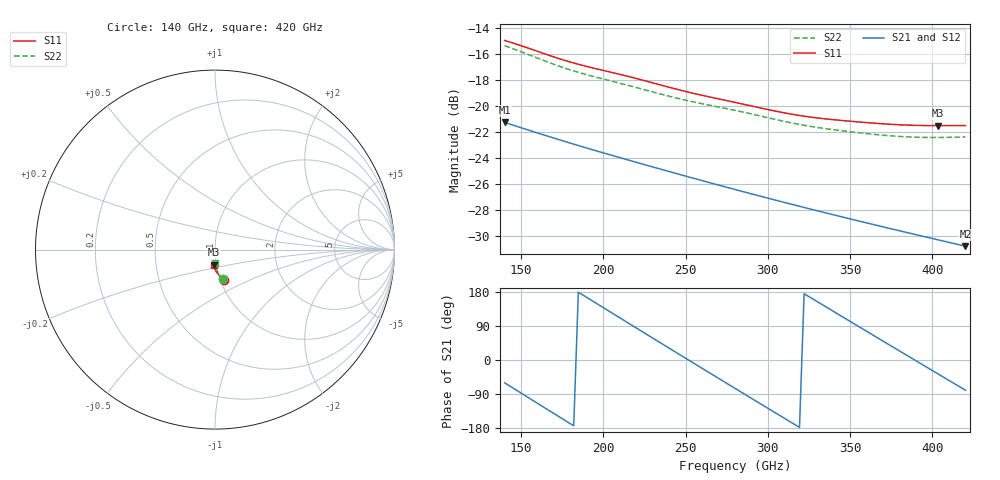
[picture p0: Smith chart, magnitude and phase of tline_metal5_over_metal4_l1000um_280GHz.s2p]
#  GHZ S DB R 50
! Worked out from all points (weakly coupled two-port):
!   101 points, 140 GHz to 420 GHz, reference 50 ohm
!   highest |S21| = -21.26 dB at 140 GHz (marker M1); lowest = -30.8 dB at 420 GHz (marker M2)
!   lowest |S11| = -21.5 dB at 403.2 GHz (marker M3), VSWR 1.18, Z = 48.9 - j8.27 ohm
!   |S11| at or under -10 dB: start of sweep to end of sweep
!   |S22| runs from -22.4 to -15.4 dB; largest |S21 - S12| = 1.3e-13
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140  -14.98 -73.4  -21.26 -60.2  -21.26 -60.2  -15.37 -75.0
148.4  -15.31 -75.1  -21.61 -82.9  -21.61 -82.9  -15.77 -76.5
159.6  -15.79 -77.3  -22.06 -113.2  -22.06 -113.2  -16.31 -78.4
173.6  -16.39 -79.4  -22.61 -151.0  -22.61 -151.0  -16.97 -80.0
187.6  -16.90 -81.0  -23.14 171.4  -23.14 171.4  -17.52 -81.2
201.6  -17.32 -82.8  -23.66 133.8  -23.66 133.8  -17.99 -82.6
212.8  -17.66 -84.4  -24.06 103.8  -24.06 103.8  -18.35 -83.8
224  -18.03 -86.0  -24.47 73.9  -24.47 73.9  -18.72 -85.0
235.2  -18.41 -87.4  -24.86 44.0  -24.86 44.0  -19.10 -86.1
246.4  -18.78 -88.4  -25.26 14.2  -25.26 14.2  -19.45 -86.9
254.8  -19.04 -89.1  -25.55 -8.1  -25.55 -8.1  -19.69 -87.4
268.8  -19.43 -90.1  -26.03 -45.2  -26.03 -45.2  -20.05 -88.4
280  -19.73 -90.9  -26.41 -74.8  -26.41 -74.8  -20.34 -89.3
291.2  -20.03 -91.6  -26.78 -104.3  -26.78 -104.3  -20.65 -90.1
305.2  -20.41 -92.1  -27.25 -141.1  -27.25 -141.1  -21.05 -90.8
316.4  -20.67 -92.1  -27.61 -170.5  -27.61 -170.5  -21.35 -91.0
327.6  -20.88 -92.0  -27.97 160.2  -27.97 160.2  -21.60 -90.9
350  -21.17 -92.1  -28.66 101.8  -28.66 101.8  -21.98 -90.9
375.2  -21.41 -92.3  -29.43 36.3  -29.43 36.3  -22.30 -90.7
389.2  -21.49 -92.3  -29.85 -0.0  -29.85 -0.0  -22.40 -90.5
403.2  -21.51 -92.6  -30.27 -36.3  -30.27 -36.3  -22.42 -90.5
420  -21.50 -93.3  -30.76 -79.6  -30.76 -79.6  -22.38 -91.0
